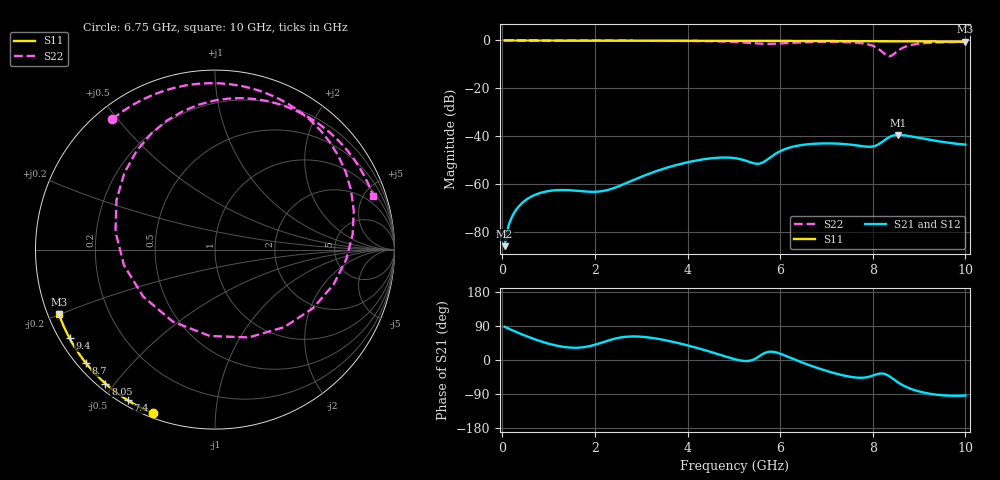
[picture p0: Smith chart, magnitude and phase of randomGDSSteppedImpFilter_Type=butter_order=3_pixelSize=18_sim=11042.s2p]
! freq	dB(S11)	phase(S11)	dB(S12)	phase(S12)
!  dB(S21)	phase(S21)	dB(S22)	phase(S22)
!S-par simulation data
#  GHz  S  DB  R 50
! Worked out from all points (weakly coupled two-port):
!   200 points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, 50 MHz to 10 GHz, reference 50 ohm
!   highest |S21| = -39.50 dB at 8.55 GHz (marker M1); lowest = -86.1 dB at 50 MHz (marker M2)
!   lowest |S11| = -0.5 dB at 10 GHz (marker M3), VSWR 32.80, Z = 1.59 - j9.98 ohm
!   |S11| at or under -10 dB: nowhere
!   |S22| runs from -6.6 to 0.0 dB; largest |S21 - S12| = 0
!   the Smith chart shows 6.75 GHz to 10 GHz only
!   S11 on the Smith chart (normalised r, x): 6.75 GHz: 0.02, -0.69; 7.4 GHz: 0.02, -0.58; 8.05 GHz: 0.02, -0.47; 8.7 GHz: 0.02, -0.38; 9.4 GHz: 0.03, -0.28; 10 GHz: 0.03, -0.20
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0.05  -0.00 -0.9  -86.06 87.6  -86.06 87.6  -0.00 -4.6
0.4  -0.01 -7.2  -68.51 68.9  -68.51 68.9  -0.05 -35.6
0.85  -0.02 -15.3  -63.63 48.6  -63.63 48.6  -0.08 -72.0
1.75  -0.04 -31.1  -63.12 33.7  -63.12 33.7  -0.12 -129.5
2.55  -0.06 -44.9  -60.71 59.4  -60.71 59.4  -0.14 -168.7
3.4  -0.08 -59.1  -54.18 55.0  -54.18 55.0  -0.17 153.7
4.45  -0.11 -76.0  -49.43 23.2  -49.43 23.2  -0.32 98.3
5.05  -0.13 -85.3  -49.31 1.2  -49.31 1.2  -0.65 44.1
5.4  -0.15 -90.6  -51.23 -0.1  -51.23 -0.1  -1.11 -11.0
5.75  -0.16 -95.9  -49.46 21.6  -49.46 21.6  -1.42 -88.0
6.15  -0.18 -101.9  -45.13 9.5  -45.13 9.5  -1.07 -164.8
6.7  -0.22 -109.9  -43.27 -16.7  -43.27 -16.7  -0.69 132.6
6.75  -0.22 -110.6  -43.21 -18.8  -43.21 -18.8  -0.68 128.2
7.4  -0.26 -120.0  -43.36 -41.6  -43.36 -41.6  -0.72 76.5
7.75  -0.29 -125.0  -44.17 -46.9  -44.17 -46.9  -1.14 43.4
8.05  -0.32 -129.3  -44.12 -39.0  -44.12 -39.0  -2.69 -4.1
8.2  -0.33 -131.4  -42.47 -35.5  -42.47 -35.5  -4.74 -48.2
8.35  -0.34 -133.6  -40.47 -42.3  -40.47 -42.3  -6.65 -120.2
8.55  -0.36 -136.4  -39.50 -59.4  -39.50 -59.4  -4.23 153.3
8.7  -0.38 -138.6  -39.73 -69.9  -39.73 -69.9  -2.64 118.7
9.4  -0.46 -148.6  -42.10 -91.9  -42.10 -91.9  -0.83 50.2
10  -0.53 -157.4  -43.55 -93.9  -43.55 -93.9  -0.63 18.8
